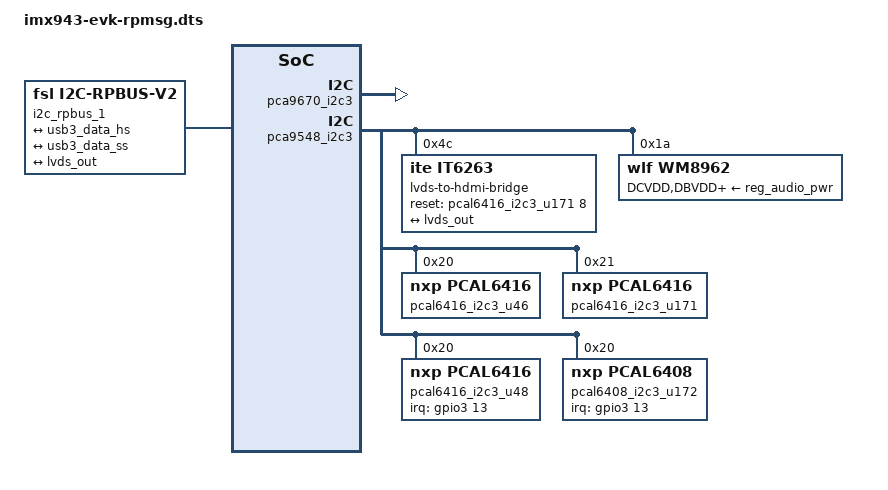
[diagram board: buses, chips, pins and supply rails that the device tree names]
// SPDX-License-Identifier: (GPL-2.0+ OR MIT)
/*
 * Copyright 2025 NXP
 */

#include "imx943-evk.dts"

/delete-node/ &lpi2c3;
/delete-node/ &thermal_zones;

/ {
	aliases {
		i2c2 = &i2c_rpbus_1;
	};

	reserved-memory {
		m7_reserved: m7@80000000 {
			no-map;
			reg = <0 0x80000000 0 0x1000000>;
		};

		micfil_reserved: micfil-rpmsg@81000000 {
			compatible = "shared-dma-pool";
			reg = <0 0x81000000 0 0x100000>;
			no-map;
		};

		audio_reserved: audio-rpmsg@c0000000 {
			compatible = "shared-dma-pool";
			reg = <0 0xc0000000 0 0x10000000>;
			no-map;
		};
	};

	sound-wm8962 {
		status = "disabled";
	};

	sound-micfil {
		status = "disabled";
	};

	sound-bt-sco {
		status = "disabled";
	};

	rpmsg_audio: rpmsg-audio {
		compatible = "fsl,imx95-rpmsg-audio";
		model = "wm8962-audio";
		fsl,rpmsg-channel-name = "rpmsg-audio-channel";
		fsl,enable-lpa;
		fsl,rpmsg-out;
		fsl,rpmsg-in;
		pinctrl-names = "default";
		pinctrl-0 = <&pinctrl_sai1>;
		assigned-clocks = <&scmi_clk IMX94_CLK_AUDIOPLL1_VCO>,
				  <&scmi_clk IMX94_CLK_AUDIOPLL2_VCO>,
				  <&scmi_clk IMX94_CLK_AUDIOPLL1>,
				  <&scmi_clk IMX94_CLK_AUDIOPLL2>,
				  <&scmi_clk IMX94_CLK_SAI1>;
		assigned-clock-parents = <0>, <0>, <0>, <0>,
					 <&scmi_clk IMX94_CLK_AUDIOPLL1>;
		assigned-clock-rates = <3932160000>, <3612672000>,
				       <393216000>, <361267200>,
				       <12288000>;
		clocks = <&scmi_clk IMX94_CLK_BUSAON>,
			 <&scmi_clk IMX94_CLK_SAI1>,
			 <&scmi_clk IMX94_CLK_BUSAON>,
			 <&scmi_clk IMX94_CLK_AUDIOPLL1>,
			 <&scmi_clk IMX94_CLK_AUDIOPLL2>;
		clock-names = "ipg", "mclk", "dma", "pll8k", "pll11k";
		audio-codec = <&wm8962>;
		memory-region = <&audio_reserved>;
		audio-routing =
			"IN1R", "MICBIAS",
			"IN3R", "MICBIAS";
		ignore-suspend-widgets =
			"HPOUTL", "HPOUTR", "Playback",
			"Capture", "IN1R", "IN3R";
		status = "okay";
	};

	rpmsg_micfil: rpmsg-micfil {
		compatible = "fsl,imx95-rpmsg-audio";
		model = "micfil-audio";
		fsl,rpmsg-channel-name = "rpmsg-micfil-channel";
		fsl,enable-lpa;
		fsl,rpmsg-in;
		pinctrl-names = "default";
		pinctrl-0 = <&pinctrl_pdm>;
		assigned-clocks = <&scmi_clk IMX94_CLK_AUDIOPLL1_VCO>,
				  <&scmi_clk IMX94_CLK_AUDIOPLL2_VCO>,
				  <&scmi_clk IMX94_CLK_AUDIOPLL1>,
				  <&scmi_clk IMX94_CLK_AUDIOPLL2>,
				  <&scmi_clk IMX94_CLK_PDM>;
		assigned-clock-parents = <0>, <0>, <0>, <0>,
					<&scmi_clk IMX94_CLK_AUDIOPLL1>;
		assigned-clock-rates = <3932160000>, <3612672000>,
				       <393216000>, <361267200>,
				       <49152000>;
		clocks = <&scmi_clk IMX94_CLK_BUSAON>,
			 <&scmi_clk IMX94_CLK_PDM>,
			 <&scmi_clk IMX94_CLK_BUSAON>,
			 <&scmi_clk IMX94_CLK_AUDIOPLL1>,
			 <&scmi_clk IMX94_CLK_AUDIOPLL2>;
		clock-names = "ipg", "mclk", "dma", "pll8k", "pll11k";
		memory-region = <&micfil_reserved>;
		status = "okay";
	};

	i2c_rpbus_1: i2c-rpbus-1 {
		compatible = "fsl,i2c-rpbus-v2";
		#address-cells = <1>;
		#size-cells = <0>;
		status = "okay";
	};
};

&i2c_rpbus_1 {

	pca9670_i2c3: gpio@23 {
		compatible = "nxp,pca9670";
		reg = <0x23>;
		#gpio-cells = <2>;
		gpio-controller;

		/* PCIE clock FANOUT buffer U12 VOE1/2/3/4 port on */
		pcie-p1-on-hog {
			gpio-hog;
			gpios = <1 GPIO_ACTIVE_HIGH>;
			output-low;
		};

		pcie-p2-on-hog {
			gpio-hog;
			gpios = <2 GPIO_ACTIVE_HIGH>;
			output-low;
		};

		pcie-p3-on-hog {
			gpio-hog;
			gpios = <3 GPIO_ACTIVE_HIGH>;
			output-low;
		};

		pcie-p4-on-hog {
			gpio-hog;
			gpios = <4 GPIO_ACTIVE_HIGH>;
			output-low;
		};
	};

	ptn5110: tcpc@50 {
		compatible = "nxp,ptn5110", "tcpci";
		reg = <0x50>;
		interrupt-parent = <&gpio3>;
		interrupts = <12 IRQ_TYPE_LEVEL_LOW>;
		pinctrl-names = "default";
		pinctrl-0 = <&pinctrl_typec>;

		typec_con: connector {
			compatible = "usb-c-connector";
			label = "USB-C";
			power-role = "dual";
			data-role = "dual";
			try-power-role = "sink";
			source-pdos = <PDO_FIXED(5000, 3000, PDO_FIXED_USB_COMM)>;
			sink-pdos = <PDO_FIXED(5000, 0, PDO_FIXED_USB_COMM)>;
			op-sink-microwatt = <0>;
			self-powered;

			ports {
				#address-cells = <1>;
				#size-cells = <0>;

				port@0 {
					reg = <0>;

					typec_con_hs: endpoint {
						remote-endpoint = <&usb3_data_hs>;
					};
				};

				port@1 {
					reg = <1>;

					typec_con_ss: endpoint {
						remote-endpoint = <&usb3_data_ss>;
					};
				};
			};
		};
	};

	pca9548_i2c3: i2c-mux@77 {
		compatible = "nxp,pca9548";
		reg = <0x77>;
		#address-cells = <1>;
		#size-cells = <0>;

		i2c@0 {
			reg = <0>;
			#address-cells = <1>;
			#size-cells = <0>;
		};

		i2c@1 {
			reg = <1>;
			#address-cells = <1>;
			#size-cells = <0>;
		};

		i2c@2 {
			reg = <2>;
			#address-cells = <1>;
			#size-cells = <0>;
		};

		i2c@3 {
			reg = <3>;
			#address-cells = <1>;
			#size-cells = <0>;

			lvds-to-hdmi-bridge@4c {
				compatible = "ite,it6263";
				reg = <0x4c>;
				reset-gpios = <&pcal6416_i2c3_u171 8 GPIO_ACTIVE_HIGH>;

				port {
					it6263_in: endpoint {
						remote-endpoint = <&lvds_out>;
					};
				};
			};
		};

		i2c@4 {
			reg = <4>;
			#address-cells = <1>;
			#size-cells = <0>;

			wm8962: codec@1a {
				compatible = "wlf,wm8962";
				reg = <0x1a>;
				DCVDD-supply = <&reg_audio_pwr>;
				DBVDD-supply = <&reg_audio_pwr>;
				AVDD-supply = <&reg_audio_pwr>;
				CPVDD-supply = <&reg_audio_pwr>;
				MICVDD-supply = <&reg_audio_pwr>;
				PLLVDD-supply = <&reg_audio_pwr>;
				SPKVDD1-supply = <&reg_audio_pwr>;
				SPKVDD2-supply = <&reg_audio_pwr>;
				gpio-cfg = <
					0x0000 /* 0:Default */
					0x0000 /* 1:Default */
					0x0000 /* 2:FN_DMICCLK */
					0x0000 /* 3:Default */
					0x0000 /* 4:FN_DMICCDAT */
					0x0000 /* 5:Default */
				>;
			};

			ptn5150: tcpc@3d {
				compatible = "nxp,ptn5150";
				reg = <0x3d>;
				interrupt-parent = <&pcal6408_i2c3_u172>;
				interrupts = <6 IRQ_TYPE_EDGE_FALLING>;
				status = "disabled";
			};
		};

		i2c@5 {
			reg = <5>;
			#address-cells = <1>;
			#size-cells = <0>;

			pcal6416_i2c3_u46: gpio@20 {
				compatible = "nxp,pcal6416";
				reg = <0x20>;
				#gpio-cells = <2>;
				gpio-controller;

			};

			pcal6416_i2c3_u171: gpio@21 {
				compatible = "nxp,pcal6416";
				reg = <0x21>;
				#gpio-cells = <2>;
				gpio-controller;

				mqs-mic-sel-hog {
					gpio-hog;
					gpios = <11 GPIO_ACTIVE_HIGH>;
					output-low;
				};

				audio-pwren-hog {
					gpio-hog;
					gpios = <12 GPIO_ACTIVE_HIGH>;
					output-high;
				};
			};
		};

		i2c@6 {
			reg = <6>;
			#address-cells = <1>;
			#size-cells = <0>;

			pcal6416_i2c3_u48: gpio@20 {
				compatible = "nxp,pcal6416";
				reg = <0x20>;
				#interrupt-cells = <2>;
				interrupt-controller;
				interrupt-parent = <&gpio3>;
				interrupts = <13 IRQ_TYPE_LEVEL_LOW>;
				#gpio-cells = <2>;
				gpio-controller;
				pinctrl-0 = <&pinctrl_ioexpander_int>;
				pinctrl-names = "default";
			};
		};

		i2c@7 {
			reg = <7>;
			#address-cells = <1>;
			#size-cells = <0>;

			pcal6408_i2c3_u172: gpio@20 {
				compatible = "nxp,pcal6408";
				reg = <0x20>;
				#interrupt-cells = <2>;
				interrupt-controller;
				interrupt-parent = <&gpio3>;
				/* shared int pin with u48 */
				interrupts = <13 IRQ_TYPE_LEVEL_LOW>;
				#gpio-cells = <2>;
				gpio-controller;
			};
		};
	};
};

&edma1{
	status = "disabled";
};

&lpi2c1 {
	/delete-property/ dmas;
	/delete-property/ dma-names;
};

&lpi2c2 {
	/delete-property/ dmas;
	/delete-property/ dma-names;
};

&lpuart1 {
	/delete-property/ dmas;
	/delete-property/ dma-names;
};

&lpuart2 {
	/delete-property/ dmas;
	/delete-property/ dma-names;
};

&micfil {
	status = "disabled";
};

&sai1 {
	status = "disabled";
};
